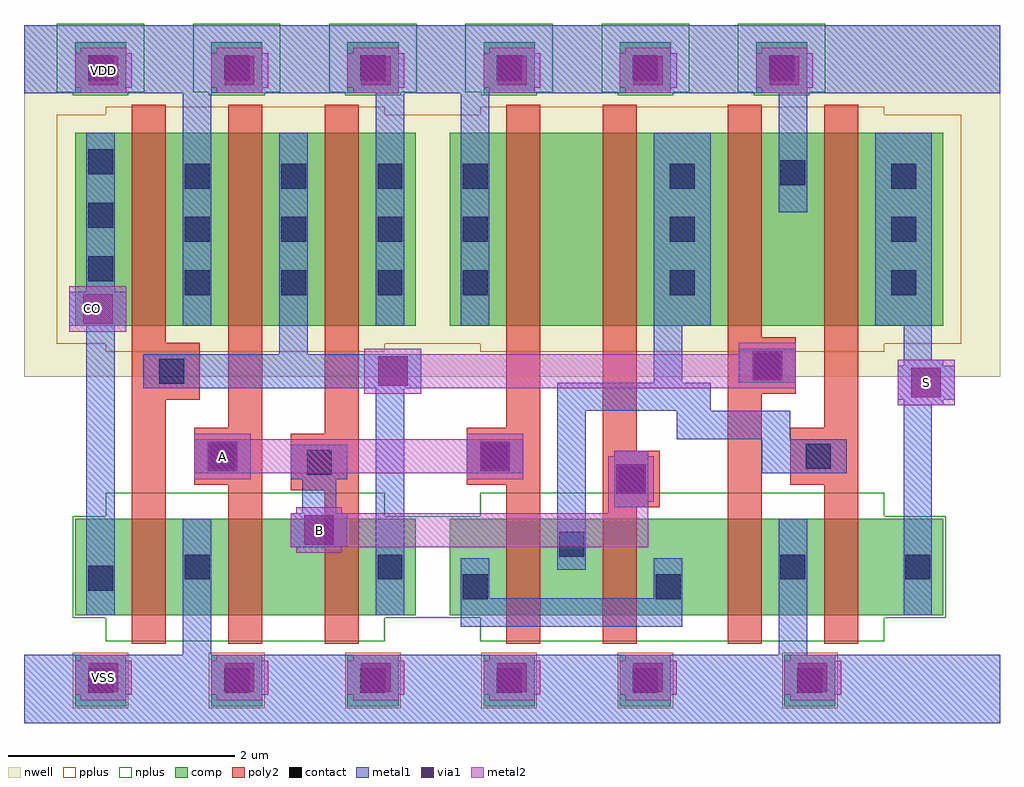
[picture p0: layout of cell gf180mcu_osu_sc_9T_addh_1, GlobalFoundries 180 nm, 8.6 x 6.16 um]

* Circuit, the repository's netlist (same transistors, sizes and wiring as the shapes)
* Copyright 2022 Google LLC
*
* Licensed under the Apache License, Version 2.0 (the "License");
* you may not use this file except in compliance with the License.
* You may obtain a copy of the License at
*
*      http://www.apache.org/licenses/LICENSE-2.0
*
* Unless required by applicable law or agreed to in writing, software
* distributed under the License is distributed on an "AS IS" BASIS,
* WITHOUT WARRANTIES OR CONDITIONS OF ANY KIND, either express or implied.
* See the License for the specific language governing permissions and
* limitations under the License.

.option scale=0.05u

.subckt gf180mcu_osu_sc_9T_addh_1 A S CO B
X0 a_19_14 A VDD VDD pmos_3p3 w=34 l=6
X1 a_91_19 B a_91_70 VDD pmos_3p3 w=34 l=6
X2 VSS a_19_14 a_75_19 VSS nmos_3p3 w=17 l=6
X3 VDD a_19_14 a_91_19 VDD pmos_3p3 w=34 l=6
X4 a_19_14 B a_42_19 VSS nmos_3p3 w=17 l=6
X5 VSS a_19_14 CO VSS nmos_3p3 w=17 l=6
X6 VDD B a_19_14 VDD pmos_3p3 w=34 l=6
X7 VDD a_19_14 CO VDD pmos_3p3 w=34 l=6
X8 S a_91_19 VSS VSS nmos_3p3 w=17 l=6
X9 a_91_19 A a_75_19 VSS nmos_3p3 w=17 l=6
X10 S a_91_19 VDD VDD pmos_3p3 w=34 l=6
X11 a_42_19 A VSS VSS nmos_3p3 w=17 l=6
X12 a_91_70 A VDD VDD pmos_3p3 w=34 l=6
X13 a_75_19 B a_91_19 VSS nmos_3p3 w=17 l=6
.ends

** hspice subcircuit dictionary

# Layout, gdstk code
import gdstk
lib = gdstk.Library(unit=1e-6, precision=1e-09)
def R(c, l, rs):  # rectangles x0, y0, x1, y1
    for r in rs: c.add(gdstk.rectangle(r[:2], r[2:], *l))
def A(c, l, x, y, w, h, nx, ny, dx, dy):  # array of equal rectangles
    R(c, l, [(x+i*dx, y+j*dy, x+i*dx+w, y+j*dy+h) for i in range(nx) for j in range(ny)])
nwell = (21, 0)
comp = (22, 0)
poly2 = (30, 0)
pplus = (31, 0)
nplus = (32, 0)
contact = (33, 0)
metal1 = (34, 0)
via1 = (35, 0)
metal2 = (36, 0)

gf180mcu_osu_sc_9t_addh_ = lib.new_cell('gf180mcu_osu_sc_9T_addh_1')
R(gf180mcu_osu_sc_9t_addh_, nwell, [(0,3.05,8.6,6.15)])
A(gf180mcu_osu_sc_9t_addh_, comp, 0.45, 0.15, 0.45, 0.45, 5, 1, 1.2, 0)
A(gf180mcu_osu_sc_9t_addh_, comp, 0.45, 5.55, 0.45, 0.45, 6, 1, 1.2, 0)
R(gf180mcu_osu_sc_9t_addh_, comp, [(6.7,0.15,7.15,0.6), (0.45,0.95,3.45,1.8), (3.75,0.95,8.1,1.8), (0.45,3.5,3.45,5.2), (3.75,3.5,8.1,5.2)])
R(gf180mcu_osu_sc_9t_addh_, poly2, [(0.95,0.7,1.25,2.85), (1.8,0.7,2.1,2.1), (2.65,0.7,2.95,2.05), (4.25,0.7,4.55,2.1), (5.1,0.7,5.4,1.9), (6.2,0.7,6.5,2.9), (7.05,0.7,7.35,2.1), (5.1,1.9,5.6,2.4), (2.35,2.05,2.95,2.55), (1.5,2.1,2.1,2.6), (3.9,2.1,4.55,2.6), (6.75,2.1,7.35,2.6), (5.1,2.4,5.4,5.45), (2.65,2.55,2.95,5.45), (1.8,2.6,2.1,5.45), (4.25,2.6,4.55,5.45), (7.05,2.6,7.35,5.45), (0.95,2.85,1.55,3.35), (6.2,2.9,6.8,3.4), (0.95,3.35,1.25,5.45), (6.2,3.4,6.5,5.45)])
A(gf180mcu_osu_sc_9t_addh_, pplus, 0.43, 0.13, 0.49, 0.49, 5, 1, 1.2, 0)
R(gf180mcu_osu_sc_9t_addh_, pplus, [(6.68,0.13,7.17,0.62), (0.72,3.27,3.18,3.34), (4.02,3.27,7.58,3.34), (0.29,3.34,8.26,5.36), (0.72,5.36,3.18,5.43), (4.02,5.36,7.58,5.43)])
A(gf180mcu_osu_sc_9t_addh_, nplus, 0.43, 5.53, 0.49, 0.03, 6, 1, 1.2, 0)
A(gf180mcu_osu_sc_9t_addh_, nplus, 0.29, 5.56, 0.77, 0.6, 6, 1, 1.2, 0)
R(gf180mcu_osu_sc_9t_addh_, nplus, [(0.72,0.72,3.18,0.93), (4.02,0.72,7.58,0.93), (0.43,0.93,8.12,1.82), (0.72,1.82,3.18,2.03), (4.02,1.82,7.58,2.03)])
A(gf180mcu_osu_sc_9t_addh_, contact, 0.565, 0.265, 0.22, 0.22, 5, 1, 1.2, 0)
A(gf180mcu_osu_sc_9t_addh_, contact, 1.415, 3.77, 0.22, 0.22, 3, 3, 0.85, 0.47)
A(gf180mcu_osu_sc_9t_addh_, contact, 3.865, 3.77, 0.22, 0.22, 1, 3, 0, 0.47)
A(gf180mcu_osu_sc_9t_addh_, contact, 5.69, 3.77, 0.22, 0.22, 1, 3, 0, 0.47)
A(gf180mcu_osu_sc_9t_addh_, contact, 7.64, 3.77, 0.22, 0.22, 1, 3, 0, 0.47)
A(gf180mcu_osu_sc_9t_addh_, contact, 0.565, 3.895, 0.22, 0.22, 1, 3, 0, 0.47)
A(gf180mcu_osu_sc_9t_addh_, contact, 0.565, 5.665, 0.22, 0.22, 6, 1, 1.2, 0)
R(gf180mcu_osu_sc_9t_addh_, contact, [(6.815,0.265,7.035,0.485), (3.865,1.09,4.085,1.31), (5.565,1.09,5.785,1.31), (0.565,1.165,0.785,1.385), (1.415,1.265,1.635,1.485), (3.115,1.265,3.335,1.485), (6.665,1.265,6.885,1.485), (7.765,1.265,7.985,1.485), (4.715,1.465,4.935,1.685), (5.24,2.04,5.46,2.26), (2.49,2.19,2.71,2.41), (1.64,2.24,1.86,2.46), (4.04,2.24,4.26,2.46), (6.89,2.24,7.11,2.46), (1.19,2.99,1.41,3.21), (6.44,3.04,6.66,3.26), (6.665,4.74,6.885,4.96)])
R(gf180mcu_osu_sc_9t_addh_, metal1, [(0,0,8.6,0.6), (1.4,0.6,1.65,1.8), (6.65,0.6,6.9,1.8), (3.85,0.85,5.8,1.1), (0.55,0.95,0.8,3.5), (3.1,0.95,3.35,2.95), (7.75,0.95,8,2.8), (3.85,1.1,4.1,1.45), (5.55,1.1,5.8,1.45), (4.7,1.35,4.95,2.75), (2.35,1.55,2.85,1.85), (2.45,1.85,2.75,2.15), (5.2,1.9,5.5,2.4), (2.35,2.15,2.85,2.45), (1.5,2.2,2,2.5), (3.9,2.2,4.4,2.5), (6.5,2.2,7.25,2.5), (5.75,2.5,6.75,2.75), (4.7,2.75,6.05,3), (7.75,2.8,8.1,2.85), (7.7,2.85,8.2,3.15), (1.05,2.95,3.5,3.25), (5.55,3,5.8,3.5), (6.3,3,6.8,3.3), (7.75,3.15,8.1,3.2), (7.75,3.2,8,3.5), (2.25,3.25,2.5,5.2), (0.4,3.5,0.9,3.8), (1.4,3.5,1.65,5.55), (3.1,3.5,3.35,5.55), (3.85,3.5,4.1,5.55), (5.55,3.5,6.05,5.2), (7.5,3.5,8,5.2), (0.55,3.8,0.8,5.2), (6.65,4.5,6.9,5.55), (0,5.55,8.6,6.15)])
A(gf180mcu_osu_sc_9t_addh_, via1, 0.57, 0.27, 0.26, 0.26, 5, 1, 1.2, 0)
A(gf180mcu_osu_sc_9t_addh_, via1, 0.57, 5.62, 0.26, 0.26, 6, 1, 1.2, 0)
R(gf180mcu_osu_sc_9t_addh_, via1, [(6.82,0.27,7.08,0.53), (2.47,1.57,2.73,1.83), (5.22,2.02,5.48,2.28), (1.62,2.22,1.88,2.48), (4.02,2.22,4.28,2.48), (7.82,2.87,8.08,3.13), (3.12,2.97,3.38,3.23), (6.42,3.02,6.68,3.28), (0.52,3.52,0.78,3.78)])
A(gf180mcu_osu_sc_9t_addh_, metal2, 0.5, 0.2, 0.4, 0.05, 5, 2, 1.2, 0.35)
A(gf180mcu_osu_sc_9t_addh_, metal2, 0.45, 0.25, 0.5, 0.3, 5, 1, 1.2, 0)
A(gf180mcu_osu_sc_9t_addh_, metal2, 0.5, 5.55, 0.4, 0.05, 6, 2, 1.2, 0.35)
A(gf180mcu_osu_sc_9t_addh_, metal2, 0.45, 5.6, 0.5, 0.3, 6, 1, 1.2, 0)
R(gf180mcu_osu_sc_9t_addh_, metal2, [(6.75,0.2,7.15,0.25), (6.7,0.25,7.2,0.55), (6.75,0.55,7.15,0.6), (2.4,1.5,2.8,1.55), (2.35,1.55,5.5,1.85), (2.4,1.85,2.8,1.9), (5.15,1.85,5.5,1.95), (5.15,1.95,5.55,2.35), (1.5,2.15,2,2.2), (3.9,2.15,4.4,2.2), (1.5,2.2,4.4,2.5), (5.2,2.35,5.5,2.4), (1.5,2.5,2,2.55), (3.9,2.5,4.4,2.55), (7.7,2.8,8.2,3.2), (3,2.9,3.5,2.95), (3,2.95,6.8,3.25), (3,3.25,3.5,3.3), (6.3,3.25,6.8,3.35), (0.4,3.45,0.9,3.85)])
gf180mcu_osu_sc_9t_addh_.add(gdstk.Label('VDD', (0.7,5.75), layer=36, texttype=0))
gf180mcu_osu_sc_9t_addh_.add(gdstk.Label('VSS', (0.7,0.4), layer=36, texttype=0))
gf180mcu_osu_sc_9t_addh_.add(gdstk.Label('A', (1.75,2.35), layer=36, texttype=10))
gf180mcu_osu_sc_9t_addh_.add(gdstk.Label('S', (7.95,3), layer=36, texttype=10))
gf180mcu_osu_sc_9t_addh_.add(gdstk.Label('CO', (0.6,3.65), layer=36, texttype=10))
gf180mcu_osu_sc_9t_addh_.add(gdstk.Label('B', (2.6,1.7), layer=36, texttype=10))

lib.write_gds('gf180mcu_osu_sc_9T_addh_1.gds')
